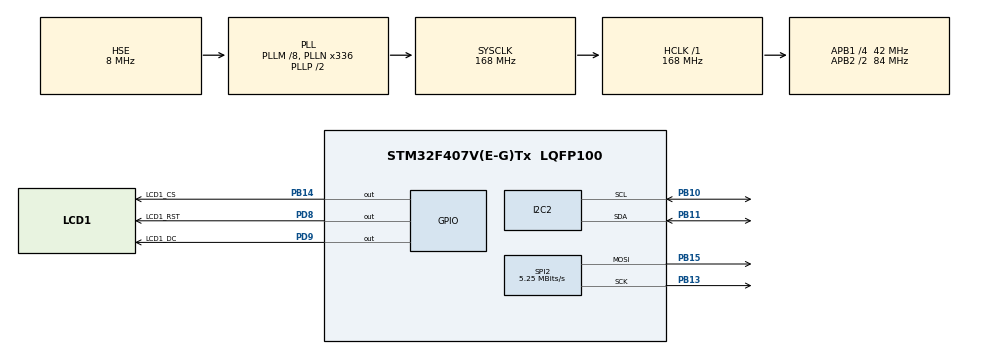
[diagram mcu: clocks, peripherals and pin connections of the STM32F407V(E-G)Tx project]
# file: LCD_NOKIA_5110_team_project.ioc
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Mcu.Family=STM32F4
Mcu.Name=STM32F407V(E-G)Tx
Mcu.Package=LQFP100
NVIC.PriorityGroup=NVIC_PRIORITYGROUP_4
PA13.Mode=Serial_Wire
PA13.Signal=SYS_JTMS-SWDIO
PA14.Mode=Serial_Wire
PA14.Signal=SYS_JTCK-SWCLK
PB10.Mode=I2C
PB10.Signal=I2C2_SCL
PB11.Mode=I2C
PB11.Signal=I2C2_SDA
PB13.Mode=TX_Only_Simplex_Unidirect_Master
PB13.Signal=SPI2_SCK
PB14.GPIO_Label=LCD1_CS
PB14.Signal=GPIO_Output
PB15.Mode=TX_Only_Simplex_Unidirect_Master
PB15.Signal=SPI2_MOSI
PD8.GPIO_Label=LCD1_RST
PD8.Signal=GPIO_Output
PD9.GPIO_Label=LCD1_DC
PD9.Signal=GPIO_Output
PH0-OSC_IN.Mode=HSE-External-Oscillator
PH0-OSC_IN.Signal=RCC_OSC_IN
PH1-OSC_OUT.Mode=HSE-External-Oscillator
PH1-OSC_OUT.Signal=RCC_OSC_OUT
ProjectManager.HeapSize=0x200
ProjectManager.StackSize=0x400
ProjectManager.TargetToolchain=SW4STM32
RCC.48MHZClocksFreq_Value=42000000
RCC.AHBFreq_Value=168000000
RCC.APB1CLKDivider=RCC_HCLK_DIV4
RCC.APB1Freq_Value=42000000
RCC.APB1TimFreq_Value=84000000
RCC.APB2CLKDivider=RCC_HCLK_DIV2
RCC.APB2Freq_Value=84000000
RCC.APB2TimFreq_Value=168000000
RCC.CortexFreq_Value=168000000
RCC.HCLKFreq_Value=168000000
RCC.HSE_VALUE=8000000
RCC.HSI_VALUE=16000000
RCC.LSE_VALUE=32768
RCC.PLLM=8
RCC.PLLN=336
RCC.PLLQ=8
RCC.PLLSourceVirtual=RCC_PLLSOURCE_HSE
RCC.SYSCLKFreq_VALUE=168000000
RCC.SYSCLKSource=RCC_SYSCLKSOURCE_PLLCLK
RCC.VCOOutputFreq_Value=336000000
SPI2.BaudRatePrescaler=SPI_BAUDRATEPRESCALER_8
SPI2.CalculateBaudRate=5.25 MBits/s
SPI2.Mode=SPI_MODE_MASTER
VP_RNG_VS_RNG.Mode=RNG_Activate
board=LCD_NOKIA_5110_team_project

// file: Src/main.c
/**
  ******************************************************************************
  * File Name          : main.c
  * Description        : Main program body
  ******************************************************************************
  *
  * COPYRIGHT(c) 2017 STMicroelectronics
  *
  * Redistribution and use in source and binary forms, with or without modification,
  * are permitted provided that the following conditions are met:
  *   1. Redistributions of source code must retain the above copyright notice,
  *      this list of conditions and the following disclaimer.
  *   2. Redistributions in binary form must reproduce the above copyright notice,
  *      this list of conditions and the following disclaimer in the documentation
  *      and/or other materials provided with the distribution.
  *   3. Neither the name of STMicroelectronics nor the names of its contributors
  *      may be used to endorse or promote products derived from this software
  *      without specific prior written permission.
  *
  * THIS SOFTWARE IS PROVIDED BY THE COPYRIGHT HOLDERS AND CONTRIBUTORS "AS IS"
  * AND ANY EXPRESS OR IMPLIED WARRANTIES, INCLUDING, BUT NOT LIMITED TO, THE
  * IMPLIED WARRANTIES OF MERCHANTABILITY AND FITNESS FOR A PARTICULAR PURPOSE ARE
  * DISCLAIMED. IN NO EVENT SHALL THE COPYRIGHT HOLDER OR CONTRIBUTORS BE LIABLE
  * FOR ANY DIRECT, INDIRECT, INCIDENTAL, SPECIAL, EXEMPLARY, OR CONSEQUENTIAL
  * DAMAGES (INCLUDING, BUT NOT LIMITED TO, PROCUREMENT OF SUBSTITUTE GOODS OR
  * SERVICES; LOSS OF USE, DATA, OR PROFITS; OR BUSINESS INTERRUPTION) HOWEVER
  * CAUSED AND ON ANY THEORY OF LIABILITY, WHETHER IN CONTRACT, STRICT LIABILITY,
  * OR TORT (INCLUDING NEGLIGENCE OR OTHERWISE) ARISING IN ANY WAY OUT OF THE USE
  * OF THIS SOFTWARE, EVEN IF ADVISED OF THE POSSIBILITY OF SUCH DAMAGE.
  *
  ******************************************************************************
  */
#include "main.h"
#include "stm32f4xx_hal.h"
#include "i2c.h"
#include "rng.h"
#include "spi.h"
#include "gpio.h"

/* USER CODE BEGIN Includes */
#include <stdbool.h>
#include <stdio.h>
#include <stdlib.h>
#include "lcd5110.h"
/* USER CODE END Includes */

/* USER CODE BEGIN PV */
/* Private variables ---------------------------------------------------------*/

/* USER CODE END PV */

void SystemClock_Config(void);
void Error_Handler(void);

/* USER CODE BEGIN PFP */
/* Private function prototypes -----------------------------------------------*/

/* USER CODE END PFP */

/* USER CODE BEGIN 0 */
LCD5110_display lcd1;

#define BMP180_PARAM_MG 3038
#define BMP180_PARAM_MH -7357
#define BMP180_PARAM_MI 3791

const unsigned char smile[] = { 0x00, 0x00, 0x00, 0x00, 0x80, 0xc0, 0xe0, 0xf0,
		0xf8, 0x7c, 0x7c, 0x3c, 0x1e, 0x1e, 0x0f, 0x0f, 0x0f, 0x0f, 0x0f, 0x0f,
		0x0f, 0x0f, 0x0f, 0x0f, 0x0f, 0x1f, 0x1e, 0x1e, 0x3c, 0x7c, 0x7c, 0xf8,
		0xf0, 0xe0, 0xc0, 0x80, 0x00, 0x00, 0x00, 0x00, 0xc0, 0xf0, 0xfe, 0xff,
		0xff, 0x0f, 0x07, 0x01, 0x00, 0x00, 0x00, 0xf0, 0xfc, 0xfe, 0xfe, 0xfe,
		0xf8, 0xf0, 0x00, 0x00, 0x00, 0x00, 0xf0, 0xfc, 0xfe, 0xfe, 0xfe, 0xfc,
		0xf0, 0x00, 0x00, 0x02, 0x03, 0x07, 0x0f, 0xff, 0xff, 0xfc, 0xf0, 0x00,
		0xff, 0xff, 0xff, 0xff, 0x80, 0x00, 0x00, 0x00, 0x40, 0xc0, 0xc0, 0xc0,
		0xc3, 0xc7, 0xc7, 0xc3, 0xc3, 0xc0, 0xc0, 0xc0, 0xc0, 0xc0, 0xc0, 0xc3,
		0xc7, 0xc7, 0xc7, 0xc3, 0xc0, 0xc0, 0xc0, 0xc0, 0x00, 0x00, 0x00, 0x00,
		0xff, 0xff, 0xff, 0xff, 0x03, 0x07, 0x3f, 0x7f, 0xff, 0xf8, 0xf0, 0xc0,
		0x80, 0x03, 0x07, 0x0f, 0x1f, 0x1f, 0x3f, 0x7f, 0x7f, 0x7f, 0xff, 0xff,
		0xff, 0xff, 0x7f, 0x7f, 0x3f, 0x3f, 0x1f, 0x1f, 0x0f, 0x07, 0x01, 0x80,
		0xe0, 0xf0, 0xf8, 0xff, 0x7f, 0x1f, 0x0f, 0x00, 0x00, 0x00, 0x00, 0x00,
		0x00, 0x03, 0x03, 0x07, 0x0f, 0x1f, 0x1e, 0x3e, 0x3c, 0x3c, 0x78, 0x78,
		0x78, 0xf0, 0xf0, 0xf0, 0xf0, 0xf0, 0xf0, 0x78, 0x78, 0x78, 0x3c, 0x3c,
		0x3e, 0x1e, 0x1f, 0x0f, 0x07, 0x03, 0x03, 0x00, 0x00, 0x00, 0x00, 0x00 //
		};

const unsigned char Bender [] = {
0x00, 0x00, 0x00, 0x00, 0x00, 0x00, 0x00, 0x00, 0x00, 0x00, 0x00, 0x00, 0x00, 0x00, 0x00, 0xF8,
0xFC, 0xFF, 0xDF, 0xAF, 0x55, 0x80, 0x55, 0x00, 0x55, 0x00, 0x55, 0x00, 0x55, 0x00, 0x55, 0x00,
0x55, 0x00, 0x55, 0x00, 0x55, 0x80, 0xD5, 0x80, 0xD5, 0xE0, 0xF5, 0x60, 0x75, 0x70, 0x75, 0x60,
0x75, 0xE0, 0xD5, 0x80, 0xD5, 0x00, 0x55, 0x00, 0x55, 0x00, 0x57, 0x07, 0x5E, 0x3C, 0x70, 0xF0,
0xE0, 0x80, 0x00, 0x00, 0x00, 0x00, 0x00, 0x00, 0x00, 0x00, 0x00, 0x00, 0x00, 0x00, 0x00, 0x00,
0x00, 0x00, 0x00, 0x00, 0x00, 0x00, 0x00, 0x00, 0x00, 0x00, 0x00, 0x00, 0x00, 0x00, 0x00, 0x00,
0x00, 0x00, 0x00, 0x03, 0x5F, 0xFF, 0xFF, 0xFF, 0xD7, 0xEE, 0xD5, 0xE8, 0xD5, 0xA0, 0xD5, 0x80,
0xD5, 0xC0, 0xF5, 0xE0, 0xBD, 0xF8, 0xDF, 0xEE, 0x7F, 0x3B, 0x3F, 0x0F, 0x0F, 0x06, 0x06, 0x06,
0x06, 0x06, 0x0C, 0x0C, 0x38, 0x38, 0xF1, 0xC1, 0xC3, 0x07, 0x07, 0x3C, 0x3D, 0xF8, 0xF5, 0xC0,
0x55, 0x00, 0x55, 0x00, 0x55, 0x03, 0x57, 0x1E, 0x7C, 0xF0, 0xE0, 0xC0, 0x00, 0x00, 0x00, 0x00,
0x00, 0x00, 0x00, 0x00, 0x00, 0x00, 0x00, 0x00, 0x00, 0x00, 0x00, 0x00, 0x00, 0x00, 0x00, 0x00,
0x00, 0x00, 0x00, 0x00, 0x00, 0x00, 0x00, 0x00, 0x00, 0x00, 0x01, 0x03, 0xC7, 0xFF, 0xFD, 0x7A,
0xDD, 0xFE, 0xFF, 0x77, 0x7F, 0x3C, 0x7E, 0x3F, 0x3F, 0x3F, 0x7F, 0xFF, 0x80, 0x80, 0x00, 0x00,
0x00, 0x00, 0x00, 0x00, 0x00, 0x06, 0x0F, 0x8F, 0xC4, 0xE0, 0x7D, 0x3F, 0x1F, 0x00, 0x00, 0x00,
0x80, 0x80, 0xE1, 0xE7, 0x7F, 0x3E, 0x55, 0x00, 0x55, 0x00, 0x55, 0x00, 0x55, 0x00, 0x55, 0x01,
0x57, 0x0F, 0x5C, 0x78, 0x70, 0xE0, 0xC0, 0x00, 0x00, 0x00, 0x00, 0x00, 0x00, 0x00, 0x00, 0x00,
0x00, 0x00, 0x00, 0x00, 0x00, 0x00, 0x00, 0x00, 0x00, 0x00, 0x40, 0xE0, 0xF0, 0xBC, 0xDF, 0xEF,
0xF7, 0xFF, 0xFF, 0xFF, 0x47, 0x03, 0x01, 0x00, 0x00, 0x00, 0xC0, 0xE0, 0xF0, 0xE0, 0x00, 0x01,
0x07, 0x07, 0x0E, 0xCC, 0xCC, 0xFC, 0x7C, 0x3C, 0x1C, 0x0E, 0x07, 0x83, 0xC1, 0xE0, 0x70, 0x30,
0x78, 0x1C, 0x5C, 0x0F, 0x57, 0x03, 0xD5, 0xC0, 0xD5, 0xE0, 0x75, 0x30, 0x35, 0xB8, 0xDD, 0xF8,
0xFD, 0xF8, 0xFD, 0xB8, 0x35, 0x30, 0xF5, 0xC0, 0xD5, 0x03, 0x57, 0x0F, 0x5F, 0xBC, 0xF0, 0xF0,
0x00, 0x00, 0x00, 0x00, 0x00, 0x00, 0x00, 0x00, 0x00, 0x00, 0x00, 0x00, 0x00, 0x00, 0x1F, 0xFF,
0xFF, 0x7F, 0xFF, 0xFF, 0xFF, 0xFF, 0xFF, 0xFF, 0xFF, 0xFE, 0xFC, 0xF8, 0xF0, 0xF0, 0xF0, 0xE1,
0xF1, 0xF0, 0x78, 0xB8, 0x5E, 0x2E, 0x57, 0x81, 0xD1, 0xE8, 0xF4, 0xB8, 0xFC, 0xBE, 0x77, 0xA3,
0x55, 0x80, 0xD5, 0xC0, 0xF5, 0x78, 0x3D, 0xBE, 0xFF, 0xE6, 0xF3, 0xF9, 0x1D, 0x0D, 0x07, 0x07,
0x0F, 0xF9, 0xF9, 0xF0, 0xF0, 0xB8, 0x19, 0x1F, 0xC6, 0xCE, 0xFB, 0xFB, 0x7F, 0xE8, 0xF5, 0xFE,
0xFF, 0xFF, 0xFF, 0xFF, 0x00, 0x00, 0x00, 0x00, 0x00, 0x00, 0x00, 0x00, 0x00, 0x00, 0x00, 0x00,
0x00, 0x00, 0x00, 0x00, 0x07, 0x0F, 0x1F, 0x1F, 0x1F, 0x3B, 0x77, 0x7F, 0x7F, 0x6F, 0x7F, 0x7F,
0x7F, 0x3F, 0x3F, 0x3B, 0x1D, 0x1C, 0x1D, 0x1E, 0x1F, 0x0E, 0x1F, 0x0F, 0x1F, 0x3F, 0x7D, 0xEE,
0xFF, 0xFE, 0xF7, 0xEA, 0x7F, 0x7F, 0x7F, 0x3F, 0x1F, 0x1E, 0x7F, 0xE3, 0xC1, 0xE0, 0xF1, 0x73,
0x1F, 0x1E, 0x9F, 0xFB, 0xF3, 0x60, 0x70, 0xFC, 0xDD, 0xEF, 0xD7, 0xE3, 0xD7, 0xE1, 0xD5, 0xF8,
0xFD, 0xFF, 0xFF, 0xFF, 0xFF, 0xFF, 0xFF, 0xFF,
};

const unsigned char babe [] = {
0xFF, 0xFF, 0xFF, 0xFF, 0xFF, 0xFF, 0xFF, 0xFF, 0xFF, 0xFF, 0xFF, 0xFF, 0xFF, 0xFF, 0xFF, 0xFF,
0xFF, 0xFF, 0xFF, 0xFF, 0xFF, 0xFF, 0xFF, 0xFF, 0xFF, 0xFF, 0xFF, 0x7E, 0x3F, 0x1F, 0x0F, 0x03,
0x07, 0x02, 0x06, 0x00, 0x02, 0x00, 0x00, 0x00, 0x00, 0x00, 0x00, 0x00, 0x00, 0x00, 0x00, 0x00,
0x00, 0x00, 0x00, 0x00, 0x00, 0x00, 0x00, 0x00, 0x00, 0x00, 0xC0, 0xF0, 0xF8, 0xFC, 0xFF, 0xFF,
0xFF, 0xFF, 0xFF, 0xFF, 0xFF, 0xFF, 0x3F, 0x3F, 0x1F, 0x1F, 0x1F, 0x3E, 0x70, 0xD0, 0x80, 0x00,
0x00, 0x00, 0x00, 0x00, 0xFF, 0xFF, 0xFF, 0xFF, 0xFF, 0xFF, 0xFF, 0xFF, 0xFF, 0xFF, 0xFF, 0xFF,
0xFF, 0xFF, 0x3F, 0x1F, 0x3F, 0x9F, 0x1F, 0x3F, 0x1F, 0x0F, 0x07, 0x07, 0x02, 0x01, 0x00, 0x00,
0x00, 0x00, 0x00, 0x00, 0x00, 0x00, 0x00, 0x00, 0x00, 0x00, 0x00, 0x00, 0x00, 0x00, 0x00, 0x00,
0x00, 0x00, 0x00, 0x00, 0x00, 0x00, 0x00, 0x00, 0x00, 0x80, 0x80, 0xC0, 0xE0, 0xFC, 0xFF, 0xFF,
0xFF, 0xFF, 0xFF, 0xFF, 0xFF, 0x01, 0xFF, 0xDF, 0x9F, 0xDF, 0xFE, 0xFC, 0x00, 0x00, 0x0C, 0x0C,
0xCC, 0x7F, 0x0F, 0x00, 0x00, 0x00, 0x00, 0x00, 0xFF, 0xFF, 0xFF, 0xFF, 0xFF, 0xFF, 0xFF, 0xFF,
0x7F, 0x7F, 0x3F, 0x3F, 0x3F, 0x3E, 0x3E, 0x3E, 0x3E, 0x3E, 0x30, 0x60, 0x60, 0xC0, 0x40, 0x00,
0x80, 0x80, 0x00, 0x00, 0x00, 0x00, 0x00, 0x00, 0x00, 0x00, 0x00, 0x00, 0x00, 0x00, 0x00, 0x00,
0x00, 0x00, 0x00, 0x80, 0xC0, 0xE0, 0xF0, 0xF8, 0xFC, 0xFC, 0xFE, 0xFE, 0xFF, 0xFF, 0xFF, 0xFF,
0xFF, 0xFF, 0xE3, 0xC3, 0x83, 0x83, 0x03, 0x07, 0x1F, 0xFF, 0xFE, 0xE7, 0xCF, 0x9F, 0x27, 0x25,
0x02, 0x08, 0x0C, 0xFF, 0xDB, 0x01, 0x00, 0x00, 0x00, 0x00, 0x00, 0x00, 0x3F, 0x1F, 0x1F, 0x0F,
0x07, 0x03, 0x01, 0x00, 0x00, 0x00, 0x00, 0x00, 0x00, 0x00, 0x00, 0x00, 0x00, 0x00, 0x00, 0x80,
0xC0, 0xF1, 0xFF, 0xFF, 0x7E, 0x09, 0x03, 0x07, 0x26, 0x24, 0x48, 0x48, 0xC8, 0xC0, 0xC0, 0xE0,
0xF0, 0xF0, 0xF8, 0xFC, 0xFC, 0xFE, 0xFF, 0xFF, 0xFF, 0xEF, 0x9F, 0x7F, 0xFF, 0xFF, 0xFF, 0xFF,
0xFF, 0xFF, 0xFF, 0xFF, 0xFF, 0xFF, 0x0F, 0x1F, 0x1F, 0x3F, 0x3C, 0x00, 0x00, 0xFF, 0xFF, 0xFF,
0xFF, 0xFF, 0xFF, 0xFC, 0x78, 0x10, 0xC0, 0xE0, 0xFF, 0x00, 0x00, 0x00, 0x00, 0x00, 0x00, 0x00,
0xFF, 0xFE, 0xFC, 0xF8, 0xE0, 0xC0, 0x00, 0x00, 0x00, 0x00, 0x00, 0x80, 0x80, 0xC0, 0xCF, 0xCF,
0xFF, 0xFE, 0xFE, 0xFF, 0xFF, 0xFF, 0xE7, 0xF1, 0xF0, 0xE0, 0xE0, 0xE0, 0xC0, 0xC0, 0x80, 0x80,
0x80, 0x0F, 0x3F, 0xFF, 0xFF, 0x9F, 0x87, 0x87, 0x8F, 0xDF, 0xF7, 0xFF, 0xDB, 0xE1, 0xFF, 0xF8,
0xFC, 0xFD, 0xFB, 0xFF, 0xFF, 0xFF, 0x7F, 0xFF, 0x7F, 0xFF, 0xFE, 0xFC, 0xF8, 0xF8, 0xF0, 0xF8,
0xFF, 0xFF, 0xFF, 0xFF, 0xFF, 0x9F, 0xC7, 0xE3, 0xF8, 0xFF, 0xFF, 0x4B, 0x01, 0x00, 0x00, 0x00,
0x00, 0x00, 0x00, 0x00, 0xFF, 0x3F, 0xBF, 0x1F, 0x0F, 0x0F, 0x07, 0x04, 0x06, 0x07, 0x07, 0x87,
0x87, 0x83, 0xC3, 0xC3, 0xC7, 0xC3, 0xC7, 0xE7, 0xC3, 0xFF, 0xFF, 0xC7, 0xC3, 0xC3, 0x03, 0x03,
0x03, 0x03, 0x07, 0x07, 0x07, 0x03, 0x03, 0x07, 0x07, 0x07, 0x07, 0x07, 0x07, 0x03, 0x07, 0x07,
0x07, 0x03, 0x03, 0x03, 0x03, 0x03, 0x03, 0x03, 0x03, 0x83, 0xC7, 0xC7, 0xCF, 0xCF, 0x4F, 0x2F,
0x3F, 0x3F, 0x3F, 0x1F, 0x1F, 0x0F, 0x17, 0x13, 0x3F, 0x7C, 0xFC, 0xFF, 0xF7, 0xE3, 0xE7, 0xE7,
0xD0, 0xF0, 0xE0, 0x60, 0x60, 0x60, 0x60, 0x60,
};

const unsigned char Thermometer [] = {
0x00, 0x00, 0x00, 0x00, 0x00, 0x00, 0xFC, 0xF2, 0xF2, 0xFC, 0x00, 0xA8, 0xA8, 0xA8, 0xA8, 0x00,
0x00, 0x54, 0x54, 0x40, 0x4E, 0x11, 0x2E, 0x2F, 0x2F, 0x2E, 0x11, 0x0E, 0x00, 0x00, 0x00, 0x00
};

const unsigned char Barometer [] = {
0x00, 0xE0, 0xF8, 0x1C, 0x0C, 0x24, 0x46, 0x86, 0x06, 0x06, 0xA6, 0x46, 0xAE, 0x1C, 0xFC, 0xF0,
0x00, 0x1F, 0x3F, 0x70, 0xE2, 0xC7, 0xC2, 0xD0, 0xCD, 0xD0, 0xC0, 0xC0, 0x60, 0x70, 0x1F, 0x0F
};

const unsigned char Pressure [] = {
0x00, 0xC0, 0x30, 0x88, 0x04, 0x24, 0x42, 0x96, 0xCA, 0xC2, 0x24, 0x94, 0x08, 0xB0, 0xC0, 0x00,
0x00, 0x03, 0x0D, 0x10, 0x21, 0x24, 0x42, 0x51, 0x69, 0x42, 0x24, 0x20, 0x11, 0x0C, 0x03, 0x00
};

const unsigned char Gas_1 [] = {
0x00, 0x00, 0xE0, 0xFC, 0xBC, 0x1E, 0xBF, 0xFF, 0xFF, 0xBF, 0x1E, 0xBC, 0xFC, 0xE0, 0x00, 0x00,
0x00, 0x00, 0x00, 0x7B, 0xC3, 0xDF, 0xE7, 0xDE, 0xDE, 0xE7, 0xDF, 0xC3, 0x7B, 0x00, 0x00, 0x00
};

const unsigned char Gas_2 [] = {
0x00, 0x00, 0xE0, 0xFC, 0xBC, 0x1E, 0xBF, 0xFF, 0xFF, 0xBF, 0x1E, 0xBC, 0xFC, 0xE0, 0x00, 0x00,
0x00, 0x00, 0x00, 0x3F, 0x63, 0x7F, 0x77, 0x7E, 0x7E, 0x77, 0x7F, 0x63, 0x3F, 0x00, 0x00, 0x00
};

int16_t AC1=0;
int16_t AC2=0;
int16_t AC3=0;
uint16_t AC4=0;
uint16_t AC5=0;
uint16_t AC6=0;
int16_t B1=0;
int16_t B2=0;
int16_t MB=0;
int16_t MC=0;
int16_t MD=0;

const int barRegisters[11] = {0xAA, 0xAC, 0xAE, 0xB0, 0xB2, 0xB4, 0xB6, 0xB8, 0xBa, 0xBC, 0xBE};

int CalculateB5(int data, int AC6, int AC5, int MC, int MD)
{
	return ((data - AC6)*AC5/32768) + MC*2048/((data - AC6)*AC5/32768) + MD;
}

int CalculateTempBAR(int data, int AC6, int AC5, int MC, int MD)
{
	 return (CalculateB5(data, AC6, AC5, MC, MD) + 8)/16 - 100;
}

int32_t CalculatePressBAR(uint32_t data, uint32_t AC6, uint32_t AC5, int32_t MC, int32_t MD, int32_t B2, uint8_t oss){
	  int32_t B3, B6, X3, p, X1, X2;
	  uint32_t B4, B7, B5;
	  B5 = CalculateTempBAR(data, AC6, AC5, MC, MD);
	  B6 = B5 - 4000;
	  X3 = (((int32_t) B2 *((B6 * B6) >> 12))>> 11) +((AC2 * B6) >> 11);
	  B3 = ((((int32_t)AC1 * 4 + X3) << oss) + 2) >> 2;
	  X3 = (((AC3 * B6) >> 13) + ((B1 * ((B6 * B6) >> 12)) >> 16) + 2) >> 2;
	  B4 = (AC4 * (uint32_t)(X3 + 32768)) >> 15;
	  B7 = ((uint32_t)data - B3) * (50000 >> oss);
	  if (B7 < 0x80000000) p = (B7 << 1) / B4; else p = (B7 / B4) << 1;
		p += ((((p >> 8) * (p >> 8) * BMP180_PARAM_MG) >> 16) + ((BMP180_PARAM_MH * p) >> 16) + BMP180_PARAM_MI) >> 4;

		return p * 407 * 0.00750061683;
}

void Draw_temperature_values(uint8_t *Buffer, int16_t *dataINTHolders_, uint16_t *dataUINTHolders_)
{
	Buffer[0] = (uint16_t) 0x2E;
	HAL_I2C_Mem_Write(&hi2c2, (uint16_t) (0xEE), (uint16_t)(0xF4), I2C_MEMADD_SIZE_8BIT, Buffer, 1, 500);
	HAL_Delay(450);
	HAL_I2C_Mem_Read(&hi2c2, (uint16_t) (0xEE), (uint16_t)(0xF6),  I2C_MEMADD_SIZE_8BIT, Buffer, 2, 500);

	int temperature = (Buffer[0]<<8) | (Buffer[1]);

	int temperatureBAR = CalculateTempBAR(temperature, dataUINTHolders_[2], dataUINTHolders_[1], dataINTHolders_[9], dataINTHolders_[10]);

	LCD5110_drawBitmap(0, 0, Thermometer, 16, 16, 0, &lcd1.hw_conf);
	LCD5110_set_cursor(18, 4, &lcd1);
	LCD5110_print("C*:", BLACK, &lcd1);

	LCD5110_putint(temperatureBAR, 36, 4, -1, BLACK, &lcd1);

	// Update
	LCD5110_refresh(&lcd1);
}

void Draw_pressure_values(uint8_t *Buffer, int16_t *dataINTHolders_, uint16_t *dataUINTHolders_)
{
	Buffer[0] = (uint16_t) 0x2E;
	HAL_I2C_Mem_Write(&hi2c2, (uint16_t) (0xEE), (uint16_t)(0xF4), I2C_MEMADD_SIZE_8BIT, Buffer, 1, 500);
	HAL_Delay(450);
	HAL_I2C_Mem_Read(&hi2c2, (uint16_t) (0xEE), (uint16_t)(0xF6),  I2C_MEMADD_SIZE_8BIT, Buffer, 2, 500);

	int temperature = (Buffer[0]<<8) | (Buffer[1]);

	int pressureBAR = CalculatePressBAR(temperature, dataUINTHolders_[2], dataUINTHolders_[1], dataINTHolders_[9], dataINTHolders_[10], dataINTHolders_[7], 0);

	LCD5110_drawBitmap(0, 32, Pressure, 16, 16, 0, &lcd1.hw_conf);
	LCD5110_set_cursor(18, 36, &lcd1);
	LCD5110_print("Press:", BLACK, &lcd1);
	LCD5110_putint(pressureBAR, 56, 36, -1, BLACK, &lcd1);

	// Update
	LCD5110_refresh(&lcd1);
}

void Draw_spec_screen_one(uint8_t *Buffer, int16_t *dataINTHolders_, uint16_t *dataUINTHolders_)
{
	// Clear everything already drawn
	LCD5110_clear_scr(&lcd1);

	// Thermometer
	Draw_temperature_values(Buffer, dataINTHolders_, dataUINTHolders_);

	// Barometer
	LCD5110_drawBitmap(0, 16, Barometer, 16, 16, 0, &lcd1.hw_conf);
	LCD5110_set_cursor(18, 20, &lcd1);
	LCD5110_print("Lel:", BLACK, &lcd1);

	// Pressure
	Draw_pressure_values(Buffer, dataINTHolders_, dataUINTHolders_);

	// Update
	LCD5110_refresh(&lcd1);

	// Let it stay for a while on the screen
	HAL_Delay(3000);
}

void Draw_gas_animation()
{
	// 5 times for 3000 delay
	for (int i = 0; i < 5; ++i)
	{
		LCD5110_drawBitmap(0, 0, Gas_1, 16, 16, 0, &lcd1.hw_conf);
		LCD5110_refresh(&lcd1);
		// Delays give both animation and staying on the screen
		HAL_Delay(600);

		LCD5110_drawBitmap(0, 0, Gas_2, 16, 16, 0, &lcd1.hw_conf);
		LCD5110_refresh(&lcd1);
		HAL_Delay(600);
	}
}

void Draw_gas_values_()
{
	LCD5110_set_cursor(18, 4, &lcd1);
	LCD5110_print("Gas:", BLACK, &lcd1);
	LCD5110_putint(10, 40, 4, -1, BLACK, &lcd1);
}

void Draw_spec_screen_two()
{
	// Clear everything already drawn
	LCD5110_clear_scr(&lcd1);

	// Gas
	// Draw gas specs first - no need to redraw them in anim
	Draw_gas_values_();
	// Draw animation
	Draw_gas_animation();

	// Update
	LCD5110_refresh(&lcd1);
}

void FullfillDataArrays(uint8_t *Buffer, int16_t *dataINTHolders_, uint16_t *dataUINTHolders_){
  int count = 0;
  for (int i = 0; i < 11; i ++) {
	HAL_I2C_Mem_Read(&hi2c2, (uint16_t) (0xEE), (uint16_t) barRegisters[i], I2C_MEMADD_SIZE_8BIT, Buffer, 2, 500);
	if(i == 3 || i == 4 || i == 5){
		 dataUINTHolders_[count] = (Buffer[0]<<8) | (Buffer[1]);
		 count++;
	}
	else{
		 dataINTHolders_[i] = (Buffer[0]<<8) | (Buffer[1]);
	}
  }
}

/* USER CODE END 0 */

int main(void)
{

  /* USER CODE BEGIN 1 */

	int16_t dataINTHolders[11] = {AC1, AC2, AC3, 1, 1, 1, B1, B2, MB, MC, MD}; // 1 1 1  take the place for other data type elements
	uint16_t dataUINTHolders[3] = {AC4, AC5, AC6};

	uint8_t Buffer[8];

  /* USER CODE END 1 */

  /* MCU Configuration----------------------------------------------------------*/

  /* Reset of all peripherals, Initializes the Flash interface and the Systick. */
  HAL_Init();

  /* Configure the system clock */
  SystemClock_Config();

  /* Initialize all configured peripherals */
  MX_GPIO_Init();
  MX_RNG_Init();
  MX_SPI2_Init();
  MX_I2C2_Init();

  /* USER CODE BEGIN 2 */
  lcd1.hw_conf.spi_handle = &hspi2;
  lcd1.hw_conf.spi_cs_pin =  LCD1_CS_Pin;
  lcd1.hw_conf.spi_cs_port = LCD1_CS_GPIO_Port;
  lcd1.hw_conf.rst_pin =  LCD1_RST_Pin;
  lcd1.hw_conf.rst_port = LCD1_RST_GPIO_Port;
  lcd1.hw_conf.dc_pin =  LCD1_DC_Pin;
  lcd1.hw_conf.dc_port = LCD1_DC_GPIO_Port;
  lcd1.def_scr = lcd5110_def_scr;
  LCD5110_init(&lcd1.hw_conf, LCD5110_NORMAL_MODE, 0x40, 2, 3);

  FullfillDataArrays(Buffer, dataINTHolders, dataUINTHolders);

  // Clear everything already drawn
  LCD5110_clear_scr(&lcd1);
  LCD5110_drawBitmap(0, 0, babe, 84, 48, 0, &lcd1.hw_conf);
  // Update
  LCD5110_refresh(&lcd1);
  HAL_Delay(3000);

  /* USER CODE END 2 */

  /* Infinite loop */
  /* USER CODE BEGIN WHILE */
  while (1)
  {
	  Draw_spec_screen_one(Buffer, dataINTHolders, dataUINTHolders);
	  Draw_spec_screen_two();

  /* USER CODE END WHILE */

  }

}

/** System Clock Configuration
*/
void SystemClock_Config(void)
{

  RCC_OscInitTypeDef RCC_OscInitStruct;
  RCC_ClkInitTypeDef RCC_ClkInitStruct;

    /**Configure the main internal regulator output voltage
    */
  __HAL_RCC_PWR_CLK_ENABLE();

  __HAL_PWR_VOLTAGESCALING_CONFIG(PWR_REGULATOR_VOLTAGE_SCALE1);

    /**Initializes the CPU, AHB and APB busses clocks
    */
  RCC_OscInitStruct.OscillatorType = RCC_OSCILLATORTYPE_HSE;
  RCC_OscInitStruct.HSEState = RCC_HSE_ON;
  RCC_OscInitStruct.PLL.PLLState = RCC_PLL_ON;
  RCC_OscInitStruct.PLL.PLLSource = RCC_PLLSOURCE_HSE;
  RCC_OscInitStruct.PLL.PLLM = 8;
  RCC_OscInitStruct.PLL.PLLN = 336;
  RCC_OscInitStruct.PLL.PLLP = RCC_PLLP_DIV2;
  RCC_OscInitStruct.PLL.PLLQ = 8;
  if (HAL_RCC_OscConfig(&RCC_OscInitStruct) != HAL_OK)
  {
    Error_Handler();
  }

    /**Initializes the CPU, AHB and APB busses clocks
    */
  RCC_ClkInitStruct.ClockType = RCC_CLOCKTYPE_HCLK|RCC_CLOCKTYPE_SYSCLK
                              |RCC_CLOCKTYPE_PCLK1|RCC_CLOCKTYPE_PCLK2;
  RCC_ClkInitStruct.SYSCLKSource = RCC_SYSCLKSOURCE_PLLCLK;
  RCC_ClkInitStruct.AHBCLKDivider = RCC_SYSCLK_DIV1;
  RCC_ClkInitStruct.APB1CLKDivider = RCC_HCLK_DIV4;
  RCC_ClkInitStruct.APB2CLKDivider = RCC_HCLK_DIV2;

  if (HAL_RCC_ClockConfig(&RCC_ClkInitStruct, FLASH_LATENCY_5) != HAL_OK)
  {
    Error_Handler();
  }

    /**Configure the Systick interrupt time
    */
  HAL_SYSTICK_Config(HAL_RCC_GetHCLKFreq()/1000);

    /**Configure the Systick
    */
  HAL_SYSTICK_CLKSourceConfig(SYSTICK_CLKSOURCE_HCLK);

  /* SysTick_IRQn interrupt configuration */
  HAL_NVIC_SetPriority(SysTick_IRQn, 0, 0);
}

void Error_Handler(void)
{
  while(1)
  {
  }
}

/************************ (C) COPYRIGHT STMicroelectronics *****END OF FILE****/
